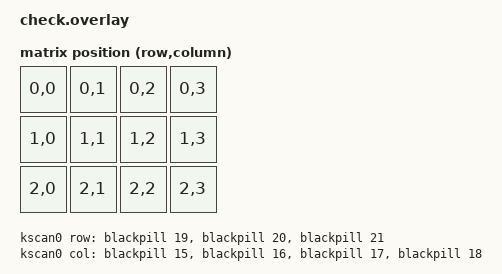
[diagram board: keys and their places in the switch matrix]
#include <dt-bindings/zmk/matrix_transform.h>

/ {
    chosen {
        zmk,kscan = &kscan0;
    };

    default_transform: keymap_transform_0 {
        compatible = "zmk,matrix-transform";
        columns = <4>;
        rows = <3>;
        map = <
            RC(0,0) RC(0,1) RC(0,2) RC(0,3)
            RC(1,0) RC(1,1) RC(1,2) RC(1,3)
            RC(2,0) RC(2,1) RC(2,2) RC(2,3)
        >;
    };

    default_layout: default_layout {
        compatible = "zmk,physical-layout";
        display-name = "Default Layout";
        transform = <&default_transform>;
        kscan = <&kscan0>;
    };

    kscan0: kscan_0 {
        compatible = "zmk,kscan-gpio-matrix";
        diode-direction = "col2row";
        wakeup-source;

        col-gpios
            = <&blackpill 15 GPIO_ACTIVE_HIGH>
            , <&blackpill 16 GPIO_ACTIVE_HIGH>
            , <&blackpill 17 GPIO_ACTIVE_HIGH>
            , <&blackpill 18 GPIO_ACTIVE_HIGH>
            ;

        row-gpios
            = <&blackpill 19 (GPIO_ACTIVE_HIGH | GPIO_PULL_DOWN)>
            , <&blackpill 20 (GPIO_ACTIVE_HIGH | GPIO_PULL_DOWN)>
            , <&blackpill 21 (GPIO_ACTIVE_HIGH | GPIO_PULL_DOWN)>
            ;
    };
};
